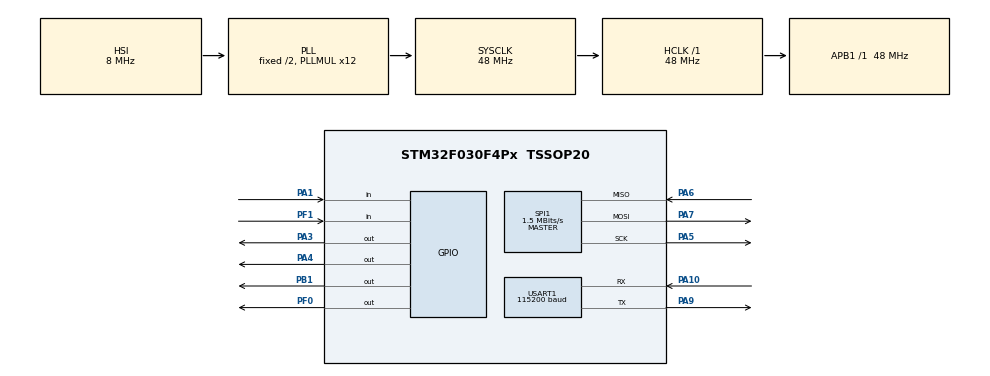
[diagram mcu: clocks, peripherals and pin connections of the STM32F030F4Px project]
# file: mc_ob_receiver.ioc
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Dma.Request0=USART1_TX
Dma.USART1_TX.0.Direction=DMA_MEMORY_TO_PERIPH
Dma.USART1_TX.0.Instance=DMA1_Channel2
Dma.USART1_TX.0.MemDataAlignment=DMA_MDATAALIGN_BYTE
Dma.USART1_TX.0.MemInc=DMA_MINC_ENABLE
Dma.USART1_TX.0.Mode=DMA_NORMAL
Dma.USART1_TX.0.PeriphDataAlignment=DMA_PDATAALIGN_BYTE
Dma.USART1_TX.0.PeriphInc=DMA_PINC_DISABLE
Dma.USART1_TX.0.Priority=DMA_PRIORITY_LOW
Mcu.Family=STM32F0
Mcu.Name=STM32F030F4Px
Mcu.Package=TSSOP20
NVIC.DMA1_Channel2_3_IRQn=true\:0\:0\:false\:false\:true\:false\:true
PA1.GPIO_PuPd=GPIO_PULLUP
PA1.Signal=GPIO_Input
PA10.Mode=Asynchronous
PA10.Signal=USART1_RX
PA13.Mode=Serial_Wire
PA13.Signal=SYS_SWDIO
PA14.Mode=Serial_Wire
PA14.Signal=SYS_SWCLK
PA3.GPIO_ModeDefaultOutputPP=GPIO_MODE_OUTPUT_PP
PA3.GPIO_PuPd=GPIO_PULLUP
PA3.GPIO_Speed=GPIO_SPEED_FREQ_MEDIUM
PA3.PinState=GPIO_PIN_SET
PA3.Signal=GPIO_Output
PA4.GPIO_PuPd=GPIO_PULLUP
PA4.GPIO_Speed=GPIO_SPEED_FREQ_MEDIUM
PA4.PinState=GPIO_PIN_SET
PA4.Signal=GPIO_Output
PA5.Mode=Full_Duplex_Master
PA5.Signal=SPI1_SCK
PA6.Mode=Full_Duplex_Master
PA6.Signal=SPI1_MISO
PA7.Mode=Full_Duplex_Master
PA7.Signal=SPI1_MOSI
PA9.Mode=Asynchronous
PA9.Signal=USART1_TX
PB1.GPIO_PuPd=GPIO_PULLUP
PB1.GPIO_Speed=GPIO_SPEED_FREQ_MEDIUM
PB1.PinState=GPIO_PIN_SET
PB1.Signal=GPIO_Output
PF0-OSC_IN.GPIO_PuPd=GPIO_PULLDOWN
PF0-OSC_IN.Signal=GPIO_Output
PF1-OSC_OUT.GPIO_PuPd=GPIO_PULLDOWN
PF1-OSC_OUT.Signal=GPIO_Input
ProjectManager.HeapSize=0x200
ProjectManager.StackSize=0x400
ProjectManager.TargetToolchain=MDK-ARM V5
RCC.AHBFreq_Value=48000000
RCC.APB1Freq_Value=48000000
RCC.APB1TimFreq_Value=48000000
RCC.HCLKFreq_Value=48000000
RCC.PLLMUL=RCC_PLL_MUL12
RCC.SYSCLKFreq_VALUE=48000000
RCC.SYSCLKSource=RCC_SYSCLKSOURCE_PLLCLK
SPI1.BaudRatePrescaler=SPI_BAUDRATEPRESCALER_32
SPI1.CalculateBaudRate=1.5 MBits/s
SPI1.DataSize=SPI_DATASIZE_8BIT
SPI1.Direction=SPI_DIRECTION_2LINES
SPI1.Mode=SPI_MODE_MASTER
SPI1.NSSPMode=SPI_NSS_PULSE_DISABLE
SPI1.VirtualType=VM_MASTER
USART1.BaudRate=115200
USART1.VirtualMode-Asynchronous=VM_ASYNC
board=custom

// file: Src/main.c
/* USER CODE BEGIN Header */
/**
  ******************************************************************************
  * @file           : main.c
  * @brief          : Main program body
  ******************************************************************************
  * @attention
  *
  * <h2><center>&copy; Copyright (c) 2019 STMicroelectronics.
  * All rights reserved.</center></h2>
  *
  * This software component is licensed by ST under BSD 3-Clause license,
  * the "License"; You may not use this file except in compliance with the
  * License. You may obtain a copy of the License at:
  *                        opensource.org/licenses/BSD-3-Clause
  *
  ******************************************************************************
  */
/* USER CODE END Header */

#include "main.h"

/* USER CODE BEGIN Includes */
#include "dev.h"
#include "string.h"
/* USER CODE END Includes */

SPI_HandleTypeDef hspi1;

UART_HandleTypeDef huart1;
DMA_HandleTypeDef hdma_usart1_tx;

/* USER CODE BEGIN PV */
dev_HandleTypeDef __nrf;
dev_HandleTypeDef __crc16;
dev_HandleTypeDef __flash;
rcs_HandleTypeDef __rc;
/* USER CODE END PV */

void SystemClock_Config(void);
static void MX_GPIO_Init(void);
static void MX_DMA_Init(void);
static void MX_SPI1_Init(void);
static void MX_USART1_UART_Init(void);

/* USER CODE BEGIN 0 */
static unsigned char buffer[256];
static unsigned int  led_freq = 0;
static unsigned int  connect_lost_counter = 0;
static unsigned int  connect_lost_flag = 0;
static unsigned char dsm2_send[16]	={ 0x00 ,0x02 ,0x06 ,0x00 ,0x16 ,0x00 ,0x09 ,0xFF ,0x12 ,0x00 ,0x0E ,0x19 ,0x1B ,0x55 ,0x00 ,0x0F};
static unsigned int  rc_freq = 0;
static unsigned char fw_once_flag = 0;
/* tick process */
void tick_process(void)
{
	/* key process */
	if( __nrf.process != 0 )
	{
	   __nrf.process((unsigned int)&__flash,0,0,0,0);
	}
	/* counter */
	if( connect_lost_counter ++ > 1000 )
	{
		/* If no data is received in a second,
		   it is considered disconnected */
		/* set led on */
		HAL_GPIO_WritePin(GPIOB,GPIO_PIN_1,GPIO_PIN_RESET);
		/* clear the channel data */
		connect_lost_flag = 1;
		/*------------------------*/
	}
	else
	{
		/* clear the channel data */
		connect_lost_flag = 0;
		/*------------------------*/
	}
	/* send data per 20 ms */
	if( rc_freq++ >= 20 && connect_lost_flag == 0 )
	{
		 /* clear and send data */
		 rc_freq = 0;
	   HAL_UART_Transmit(&huart1,dsm2_send,sizeof(dsm2_send),0xffffffff);
	}
	/* end of file */
}
#if RECEIVER_BOARD
/* set PF1 to GPIO_PULLUP */
static void MX_PF1_Init(void)
{
  GPIO_InitTypeDef GPIO_InitStruct = {0};

  /* GPIO Ports Clock Enable */
  __HAL_RCC_GPIOF_CLK_ENABLE();

  /*Configure GPIO pin : PF1 */
  GPIO_InitStruct.Pin = GPIO_PIN_1;
  GPIO_InitStruct.Mode = GPIO_MODE_INPUT;
  GPIO_InitStruct.Pull = GPIO_PULLUP;
  HAL_GPIO_Init(GPIOF, &GPIO_InitStruct);
}
#endif
/* USER CODE END 0 */

int main(void)
{

  /* MCU Configuration--------------------------------------------------------*/

  /* Reset of all peripherals, Initializes the Flash interface and the Systick. */
  HAL_Init();

  /* Configure the system clock */
  SystemClock_Config();

  /* Initialize all configured peripherals */
  MX_GPIO_Init();
  MX_DMA_Init();
  MX_SPI1_Init();
  MX_USART1_UART_Init();
  /* USER CODE BEGIN 2 */
#if RECEIVER_BOARD
/* set PF1 to GPIO_PULLUP */
  MX_PF1_Init();
#endif
	CRC16_Init(&__crc16);
	Flash_Init(&__flash);
  /* check nrf24l01 */
  if( nrf24L01_Init(&__nrf,&hspi1,(unsigned int)&__flash) != 0 )
	{
		/* can not find the nrf moudle */
		HAL_GPIO_WritePin(GPIOF,GPIO_PIN_0,GPIO_PIN_SET);
		/* stop at here */
		while(1)
		{
			__nrf.state(2000);
			/* toggle */
			GPIOB->ODR ^= 1 << 1; // led green
#if RECEIVER_BOARD
			GPIOF->ODR ^= 1 << 0; // led red
#endif
		}
	}
	/* check */
  __nrf.state(1000);
	/* lighten the led */
	HAL_GPIO_WritePin(GPIOB,GPIO_PIN_1,GPIO_PIN_RESET);
	HAL_GPIO_WritePin(GPIOF,GPIO_PIN_0,GPIO_PIN_SET);
	/* read */
  /* USER CODE END 2 */

  /* Infinite loop */
  /* USER CODE BEGIN WHILE */
  while (1)
  {
		/* read data */
		if( __nrf.read(0,buffer,sizeof(buffer)) == sizeof(__rc))
		{
			/* clear the counter */
			connect_lost_counter = 0;
			/* copy data */
			memcpy((void *)&__rc,(const void *)buffer,sizeof(__rc));
			/* check crc */
			if( __crc16.read(0,&__rc,sizeof(__rc) - 2 ) == __rc.crc && __rc.crc != 0 )
			{
				/* ok get data */
				if( ++led_freq >= 50 )
				{
					/*clear */
					led_freq = 0;
					/* toggle */
					GPIOB->ODR ^= 1 << 1;
				}
				/* check rc flag */
				if( __nrf.i_pri != __rc.unique_id )
				{
					/* write the new unique id into flash */
					unsigned char buffert[4];
					/* struct */
					buffert[0] = __rc.unique_id >> 8;
					buffert[1] = __rc.unique_id & 0xff;
					/* flag */
					buffert[2] = 0xAA;
					/* check sum */
					buffert[3] = (unsigned char)(buffert[0] + buffert[1]);
					/* active */
					if( __flash.write(FEBASE_ADDR,buffert,sizeof(buffert)) == 0 && fw_once_flag == 0)
					{
						/* flash is just allowed to wrtite once */
						fw_once_flag = 1;
#if RECEIVER_BOARD
					  /* and reset system */
					  HAL_NVIC_SystemReset();
#else
						/* ok . config ok . reset the system */
						HAL_GPIO_WritePin(GPIOF,GPIO_PIN_0,GPIO_PIN_RESET);
						/* check */
						__nrf.state(2000);
#endif
					}
				}
				/* create dsm buffer */
				__nrf.ioctrl(CREATE_DSM,(unsigned int)dsm2_send,&__rc,sizeof(dsm2_send));
				/* end of files */
			}
		}
    /* USER CODE END WHILE */

  }
}

void SystemClock_Config(void)
{
  RCC_OscInitTypeDef RCC_OscInitStruct = {0};
  RCC_ClkInitTypeDef RCC_ClkInitStruct = {0};
  RCC_PeriphCLKInitTypeDef PeriphClkInit = {0};

  /** Initializes the CPU, AHB and APB busses clocks
  */
  RCC_OscInitStruct.OscillatorType = RCC_OSCILLATORTYPE_HSI;
  RCC_OscInitStruct.HSIState = RCC_HSI_ON;
  RCC_OscInitStruct.HSICalibrationValue = RCC_HSICALIBRATION_DEFAULT;
  RCC_OscInitStruct.PLL.PLLState = RCC_PLL_ON;
  RCC_OscInitStruct.PLL.PLLSource = RCC_PLLSOURCE_HSI;
  RCC_OscInitStruct.PLL.PLLMUL = RCC_PLL_MUL12;
  RCC_OscInitStruct.PLL.PREDIV = RCC_PREDIV_DIV1;
  if (HAL_RCC_OscConfig(&RCC_OscInitStruct) != HAL_OK)
  {
    Error_Handler();
  }
  /** Initializes the CPU, AHB and APB busses clocks
  */
  RCC_ClkInitStruct.ClockType = RCC_CLOCKTYPE_HCLK|RCC_CLOCKTYPE_SYSCLK
                              |RCC_CLOCKTYPE_PCLK1;
  RCC_ClkInitStruct.SYSCLKSource = RCC_SYSCLKSOURCE_PLLCLK;
  RCC_ClkInitStruct.AHBCLKDivider = RCC_SYSCLK_DIV1;
  RCC_ClkInitStruct.APB1CLKDivider = RCC_HCLK_DIV1;

  if (HAL_RCC_ClockConfig(&RCC_ClkInitStruct, FLASH_LATENCY_1) != HAL_OK)
  {
    Error_Handler();
  }
  PeriphClkInit.PeriphClockSelection = RCC_PERIPHCLK_USART1;
  PeriphClkInit.Usart1ClockSelection = RCC_USART1CLKSOURCE_PCLK1;
  if (HAL_RCCEx_PeriphCLKConfig(&PeriphClkInit) != HAL_OK)
  {
    Error_Handler();
  }
}

static void MX_SPI1_Init(void)
{

  /* SPI1 parameter configuration*/
  hspi1.Instance = SPI1;
  hspi1.Init.Mode = SPI_MODE_MASTER;
  hspi1.Init.Direction = SPI_DIRECTION_2LINES;
  hspi1.Init.DataSize = SPI_DATASIZE_8BIT;
  hspi1.Init.CLKPolarity = SPI_POLARITY_LOW;
  hspi1.Init.CLKPhase = SPI_PHASE_1EDGE;
  hspi1.Init.NSS = SPI_NSS_SOFT;
  hspi1.Init.BaudRatePrescaler = SPI_BAUDRATEPRESCALER_32;
  hspi1.Init.FirstBit = SPI_FIRSTBIT_MSB;
  hspi1.Init.TIMode = SPI_TIMODE_DISABLE;
  hspi1.Init.CRCCalculation = SPI_CRCCALCULATION_DISABLE;
  hspi1.Init.CRCPolynomial = 7;
  hspi1.Init.CRCLength = SPI_CRC_LENGTH_DATASIZE;
  hspi1.Init.NSSPMode = SPI_NSS_PULSE_DISABLE;
  if (HAL_SPI_Init(&hspi1) != HAL_OK)
  {
    Error_Handler();
  }

}

static void MX_USART1_UART_Init(void)
{

  huart1.Instance = USART1;
  huart1.Init.BaudRate = 115200;
  huart1.Init.WordLength = UART_WORDLENGTH_8B;
  huart1.Init.StopBits = UART_STOPBITS_1;
  huart1.Init.Parity = UART_PARITY_NONE;
  huart1.Init.Mode = UART_MODE_TX_RX;
  huart1.Init.HwFlowCtl = UART_HWCONTROL_NONE;
  huart1.Init.OverSampling = UART_OVERSAMPLING_16;
  huart1.Init.OneBitSampling = UART_ONE_BIT_SAMPLE_DISABLE;
  huart1.AdvancedInit.AdvFeatureInit = UART_ADVFEATURE_NO_INIT;
  if (HAL_UART_Init(&huart1) != HAL_OK)
  {
    Error_Handler();
  }

}

static void MX_DMA_Init(void)
{
  /* DMA controller clock enable */
  __HAL_RCC_DMA1_CLK_ENABLE();

  /* DMA interrupt init */
  /* DMA1_Channel2_3_IRQn interrupt configuration */
  HAL_NVIC_SetPriority(DMA1_Channel2_3_IRQn, 0, 0);
  HAL_NVIC_EnableIRQ(DMA1_Channel2_3_IRQn);

}

static void MX_GPIO_Init(void)
{
  GPIO_InitTypeDef GPIO_InitStruct = {0};

  /* GPIO Ports Clock Enable */
  __HAL_RCC_GPIOF_CLK_ENABLE();
  __HAL_RCC_GPIOA_CLK_ENABLE();
  __HAL_RCC_GPIOB_CLK_ENABLE();

  /*Configure GPIO pin Output Level */
  HAL_GPIO_WritePin(GPIOF, GPIO_PIN_0, GPIO_PIN_RESET);

  /*Configure GPIO pin Output Level */
  HAL_GPIO_WritePin(GPIOA, GPIO_PIN_3|GPIO_PIN_4, GPIO_PIN_SET);

  /*Configure GPIO pin Output Level */
  HAL_GPIO_WritePin(GPIOB, GPIO_PIN_1, GPIO_PIN_SET);

  /*Configure GPIO pin : PF0 */
  GPIO_InitStruct.Pin = GPIO_PIN_0;
  GPIO_InitStruct.Mode = GPIO_MODE_OUTPUT_PP;
  GPIO_InitStruct.Pull = GPIO_PULLDOWN;
  GPIO_InitStruct.Speed = GPIO_SPEED_FREQ_LOW;
  HAL_GPIO_Init(GPIOF, &GPIO_InitStruct);

  /*Configure GPIO pin : PF1 */
  GPIO_InitStruct.Pin = GPIO_PIN_1;
  GPIO_InitStruct.Mode = GPIO_MODE_INPUT;
  GPIO_InitStruct.Pull = GPIO_PULLDOWN;
  HAL_GPIO_Init(GPIOF, &GPIO_InitStruct);

  /*Configure GPIO pin : PA1 */
  GPIO_InitStruct.Pin = GPIO_PIN_1;
  GPIO_InitStruct.Mode = GPIO_MODE_INPUT;
  GPIO_InitStruct.Pull = GPIO_PULLUP;
  HAL_GPIO_Init(GPIOA, &GPIO_InitStruct);

  /*Configure GPIO pins : PA3 PA4 */
  GPIO_InitStruct.Pin = GPIO_PIN_3|GPIO_PIN_4;
  GPIO_InitStruct.Mode = GPIO_MODE_OUTPUT_PP;
  GPIO_InitStruct.Pull = GPIO_PULLUP;
  GPIO_InitStruct.Speed = GPIO_SPEED_FREQ_MEDIUM;
  HAL_GPIO_Init(GPIOA, &GPIO_InitStruct);

  /*Configure GPIO pin : PB1 */
  GPIO_InitStruct.Pin = GPIO_PIN_1;
  GPIO_InitStruct.Mode = GPIO_MODE_OUTPUT_PP;
  GPIO_InitStruct.Pull = GPIO_PULLUP;
  GPIO_InitStruct.Speed = GPIO_SPEED_FREQ_MEDIUM;
  HAL_GPIO_Init(GPIOB, &GPIO_InitStruct);

}

void Error_Handler(void)
{
}

/************************ (C) COPYRIGHT STMicroelectronics *****END OF FILE****/
